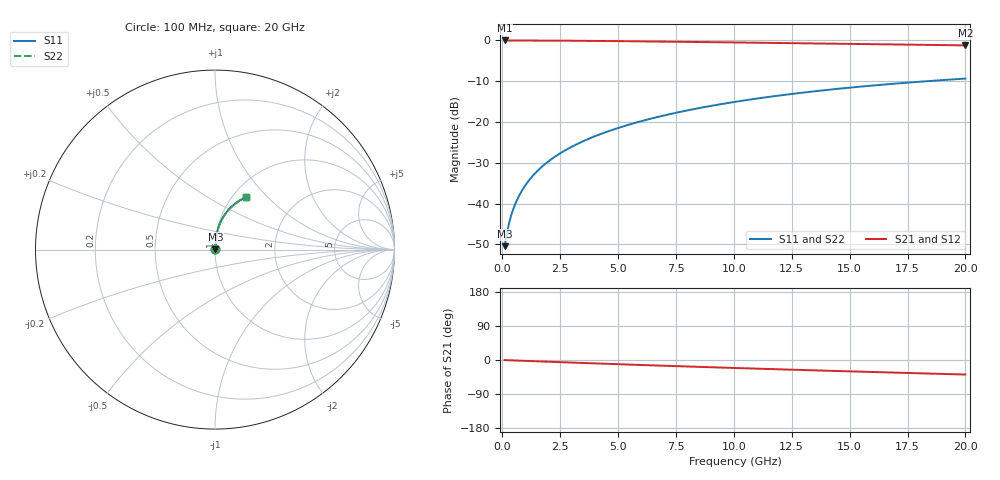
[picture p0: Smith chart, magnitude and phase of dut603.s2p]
! Touchstone file exported from HFSS 2024.1.0
!  File:  C:/UserFiles/LocalFiles/RDL_TSV_Batchsim/temp_RDL_top_603_1779779399.aedt
!  Generated:  03:12:27 PM May 26, 2026
!  Design:  RDL_top
!  Project:  temp_RDL_top_603_1779779399
!  Setup:  Setup1
!  Solution:  Sweep
! Variables:
!  dtsv = 10.80580581um
!  hbump = 3um
!  htsv = 79.15um
!  ldown = 100um
!  lrdl = 554.19um
!  p = 40
!  p1 = 47.19um
!  rhole = 1um
!  t = 450um
!  tdown = 3.915915916um
!  trdl = 4.2um
!  wdown = 15.38538539um
!  wrdl = 21.11um
# GHz S MA R 50.000000
! Terminal data exported
! Port[1] = Box2_T1
! Port[2] = Box2_T2
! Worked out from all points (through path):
!   200 points, 100 MHz to 20 GHz, reference 50 ohm
!   highest |S21| = -0.02 dB at 100 MHz (marker M1); lowest = -1.2 dB at 20 GHz (marker M2)
!   group delay of S21, straight-line fit = 5.28 ps
!   lowest |S11| = -50.5 dB at 100 MHz (marker M3), VSWR 1.01, Z = 50.2 + j0.182 ohm
!   |S11| at or under -10 dB: start of sweep to 18.35 GHz
!   |S22| runs from -50.5 to -9.4 dB; largest |S21 - S12| = 4.1e-15
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0.1  0.002998 37.2  0.9976 -0.2  0.9976 -0.2  0.002998 37.2
! Gamma 0 0 0 0
! Port Impedance 50 0 50 0
0.2  0.004361 54.8  0.9975 -0.5  0.9975 -0.5  0.004361 54.8
0.3  0.005873 63.1  0.9973 -0.7  0.9973 -0.7  0.005873 63.1
0.4  0.007408 68.0  0.9971 -0.9  0.9971 -0.9  0.007408 68.0
0.5  0.008949 71.3  0.997 -1.2  0.997 -1.2  0.008949 71.3
0.6  0.0105 73.6  0.9968 -1.4  0.9968 -1.4  0.0105 73.6
0.8  0.01362 76.9  0.9965 -1.9  0.9965 -1.9  0.01362 76.9
1.1  0.01838 79.8  0.996 -2.5  0.996 -2.5  0.01838 79.8
1.3  0.02158 81.1  0.9956 -3.0  0.9956 -3.0  0.02158 81.1
1.6  0.02644 82.3  0.9948 -3.7  0.9948 -3.7  0.02644 82.3
2.1  0.03462 83.5  0.9933 -4.8  0.9933 -4.8  0.03462 83.5
2.7  0.04459 84.2  0.9911 -6.1  0.9911 -6.1  0.04459 84.2
3.5  0.05813 84.4  0.9874 -7.9  0.9874 -7.9  0.05812 84.4
4.2  0.07021 84.2  0.9836 -9.4  0.9836 -9.4  0.07019 84.2
5  0.08426 83.7  0.9789 -11.1  0.9789 -11.1  0.08423 83.6
6.8  0.1167 81.8  0.9669 -14.8  0.9669 -14.8  0.1166 81.7
8.4  0.146 79.5  0.9555 -18.0  0.9555 -18.0  0.146 79.5
10.1  0.1772 76.8  0.943 -21.2  0.943 -21.2  0.1771 76.7
11.7  0.2062 74.0  0.931 -24.2  0.931 -24.2  0.2061 74.0
13.4  0.2361 71.0  0.9181 -27.2  0.9181 -27.2  0.236 70.9
16.7  0.2908 65.1  0.893 -32.9  0.893 -32.9  0.2906 65.0
20  0.3402 59.4  0.8679 -38.3  0.8679 -38.3  0.3399 59.3
